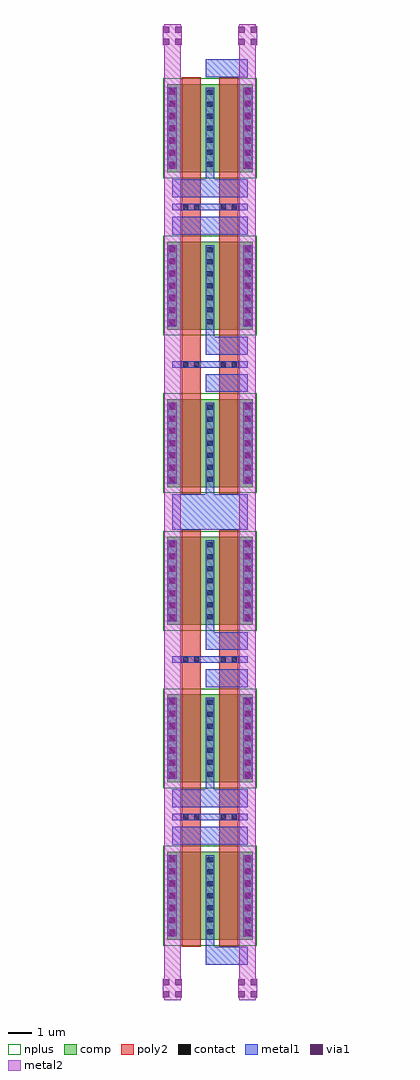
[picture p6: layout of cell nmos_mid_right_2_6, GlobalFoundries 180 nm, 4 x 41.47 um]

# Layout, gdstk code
import gdstk
lib = gdstk.Library(unit=1e-6, precision=5e-09)
def R(c, l, rs):  # rectangles x0, y0, x1, y1
    for r in rs: c.add(gdstk.rectangle(r[:2], r[2:], *l))
def A(c, l, x, y, w, h, nx, ny, dx, dy):  # array of equal rectangles
    R(c, l, [(x+i*dx, y+j*dy, x+i*dx+w, y+j*dy+h) for i in range(nx) for j in range(ny)])
comp = (22, 0)
poly2 = (30, 0)
nplus = (32, 0)
contact = (33, 0)
metal1 = (34, 0)
via1 = (35, 0)
metal2 = (36, 0)

nmos_mid_right_2_6 = lib.new_cell('nmos_mid_right_2_6')
R(nmos_mid_right_2_6, comp, [(0.19,2.17,0.61,5.92), (0.19,2.17,0.61,5.92), (0.61,2.17,1.79,5.92), (0.61,2.17,1.79,5.92), (1.79,2.17,2.21,5.92), (1.79,2.17,2.21,5.92), (1.79,2.17,2.21,5.92), (1.79,2.17,2.21,5.92), (2.21,2.17,3.39,5.92), (2.21,2.17,3.39,5.92), (3.39,2.17,3.81,5.92), (3.39,2.17,3.81,5.92), (0.19,8.86,0.61,12.61), (0.19,8.86,0.61,12.61), (0.61,8.86,1.79,12.61), (0.61,8.86,1.79,12.61), (1.79,8.86,2.21,12.61), (1.79,8.86,2.21,12.61), (1.79,8.86,2.21,12.61), (1.79,8.86,2.21,12.61), (2.21,8.86,3.39,12.61), (2.21,8.86,3.39,12.61), (3.39,8.86,3.81,12.61), (3.39,8.86,3.81,12.61), (0.19,15.55,0.61,19.3), (0.19,15.55,0.61,19.3), (0.61,15.55,1.79,19.3), (0.61,15.55,1.79,19.3), (1.79,15.55,2.21,19.3), (1.79,15.55,2.21,19.3), (1.79,15.55,2.21,19.3), (1.79,15.55,2.21,19.3), (2.21,15.55,3.39,19.3), (2.21,15.55,3.39,19.3), (3.39,15.55,3.81,19.3), (3.39,15.55,3.81,19.3), (0.19,21.4,0.61,25.15), (0.19,21.4,0.61,25.15), (0.61,21.4,1.79,25.15), (0.61,21.4,1.79,25.15), (1.79,21.4,2.21,25.15), (1.79,21.4,2.21,25.15), (1.79,21.4,2.21,25.15), (1.79,21.4,2.21,25.15), (2.21,21.4,3.39,25.15), (2.21,21.4,3.39,25.15), (3.39,21.4,3.81,25.15), (3.39,21.4,3.81,25.15), (0.19,28.09,0.61,31.84), (0.19,28.09,0.61,31.84), (0.61,28.09,1.79,31.84), (0.61,28.09,1.79,31.84), (1.79,28.09,2.21,31.84), (1.79,28.09,2.21,31.84), (1.79,28.09,2.21,31.84), (1.79,28.09,2.21,31.84), (2.21,28.09,3.39,31.84), (2.21,28.09,3.39,31.84), (3.39,28.09,3.81,31.84), (3.39,28.09,3.81,31.84), (0.19,34.78,0.61,38.53), (0.19,34.78,0.61,38.53), (0.61,34.78,1.79,38.53), (0.61,34.78,1.79,38.53), (1.79,34.78,2.21,38.53), (1.79,34.78,2.21,38.53), (1.79,34.78,2.21,38.53), (1.79,34.78,2.21,38.53), (2.21,34.78,3.39,38.53), (2.21,34.78,3.39,38.53), (3.39,34.78,3.81,38.53), (3.39,34.78,3.81,38.53)])
R(nmos_mid_right_2_6, poly2, [(0.8,1.87,1.6,6.22), (0.8,1.87,1.6,6.22), (2.4,1.87,3.2,6.22), (2.4,1.87,3.2,6.22), (0.8,6.22,1.6,8.56), (2.4,6.22,3.2,8.56), (0.785,7.235,1.615,7.545), (2.385,7.235,3.215,7.545), (0.8,8.56,1.6,12.91), (0.8,8.56,1.6,12.91), (2.4,8.56,3.2,12.91), (2.4,8.56,3.2,12.91), (0.8,12.91,1.6,15.25), (2.4,12.91,3.2,15.25), (0.785,13.925,1.615,14.235), (2.385,13.925,3.215,14.235), (0.8,15.25,1.6,19.6), (0.8,15.25,1.6,19.6), (2.4,15.25,3.2,19.6), (2.4,15.25,3.2,19.6), (0.8,21.1,1.6,25.45), (0.8,21.1,1.6,25.45), (2.4,21.1,3.2,25.45), (2.4,21.1,3.2,25.45), (0.8,25.45,1.6,27.79), (2.4,25.45,3.2,27.79), (0.785,26.465,1.615,26.775), (2.385,26.465,3.215,26.775), (0.8,27.79,1.6,32.14), (0.8,27.79,1.6,32.14), (2.4,27.79,3.2,32.14), (2.4,27.79,3.2,32.14), (0.8,32.14,1.6,34.48), (2.4,32.14,3.2,34.48), (0.785,33.155,1.615,33.465), (2.385,33.155,3.215,33.465), (0.8,34.48,1.6,38.83), (0.8,34.48,1.6,38.83), (2.4,34.48,3.2,38.83), (2.4,34.48,3.2,38.83)])
R(nmos_mid_right_2_6, nplus, [(0.02,1.93,2.38,6.16), (0.02,1.93,2.38,6.16), (1.62,1.93,3.98,6.16), (1.62,1.93,3.98,6.16), (0.02,8.62,2.38,12.85), (0.02,8.62,2.38,12.85), (1.62,8.62,3.98,12.85), (1.62,8.62,3.98,12.85), (0.02,15.31,2.38,19.54), (0.02,15.31,2.38,19.54), (1.62,15.31,3.98,19.54), (1.62,15.31,3.98,19.54), (0.02,21.16,2.38,25.39), (0.02,21.16,2.38,25.39), (1.62,21.16,3.98,25.39), (1.62,21.16,3.98,25.39), (0.02,27.85,2.38,32.08), (0.02,27.85,2.38,32.08), (1.62,27.85,3.98,32.08), (1.62,27.85,3.98,32.08), (0.02,34.54,2.38,38.77), (0.02,34.54,2.38,38.77), (1.62,34.54,3.98,38.77), (1.62,34.54,3.98,38.77)])
R(nmos_mid_right_2_6, contact, [(0.29,2.405,0.51,2.625), (0.29,2.405,0.51,2.625), (1.89,2.405,2.11,2.625), (1.89,2.405,2.11,2.625), (1.89,2.405,2.11,2.625), (1.89,2.405,2.11,2.625), (3.49,2.405,3.71,2.625), (3.49,2.405,3.71,2.625), (0.29,2.915,0.51,3.135), (0.29,2.915,0.51,3.135), (1.89,2.915,2.11,3.135), (1.89,2.915,2.11,3.135), (1.89,2.915,2.11,3.135), (1.89,2.915,2.11,3.135), (3.49,2.915,3.71,3.135), (3.49,2.915,3.71,3.135), (0.29,3.425,0.51,3.645), (0.29,3.425,0.51,3.645), (1.89,3.425,2.11,3.645), (1.89,3.425,2.11,3.645), (1.89,3.425,2.11,3.645), (1.89,3.425,2.11,3.645), (3.49,3.425,3.71,3.645), (3.49,3.425,3.71,3.645), (0.29,3.935,0.51,4.155), (0.29,3.935,0.51,4.155), (1.89,3.935,2.11,4.155), (1.89,3.935,2.11,4.155), (1.89,3.935,2.11,4.155), (1.89,3.935,2.11,4.155), (3.49,3.935,3.71,4.155), (3.49,3.935,3.71,4.155), (0.29,4.445,0.51,4.665), (0.29,4.445,0.51,4.665), (1.89,4.445,2.11,4.665), (1.89,4.445,2.11,4.665), (1.89,4.445,2.11,4.665), (1.89,4.445,2.11,4.665), (3.49,4.445,3.71,4.665), (3.49,4.445,3.71,4.665), (0.29,4.955,0.51,5.175), (0.29,4.955,0.51,5.175), (1.89,4.955,2.11,5.175), (1.89,4.955,2.11,5.175), (1.89,4.955,2.11,5.175), (1.89,4.955,2.11,5.175), (3.49,4.955,3.71,5.175), (3.49,4.955,3.71,5.175), (0.29,5.465,0.51,5.685), (0.29,5.465,0.51,5.685), (1.89,5.465,2.11,5.685), (1.89,5.465,2.11,5.685), (1.89,5.465,2.11,5.685), (1.89,5.465,2.11,5.685), (3.49,5.465,3.71,5.685), (3.49,5.465,3.71,5.685), (0.855,7.28,1.075,7.5), (1.325,7.28,1.545,7.5), (2.455,7.28,2.675,7.5), (2.925,7.28,3.145,7.5), (0.29,9.095,0.51,9.315), (0.29,9.095,0.51,9.315), (1.89,9.095,2.11,9.315), (1.89,9.095,2.11,9.315), (1.89,9.095,2.11,9.315), (1.89,9.095,2.11,9.315), (3.49,9.095,3.71,9.315), (3.49,9.095,3.71,9.315), (0.29,9.605,0.51,9.825), (0.29,9.605,0.51,9.825), (1.89,9.605,2.11,9.825), (1.89,9.605,2.11,9.825), (1.89,9.605,2.11,9.825), (1.89,9.605,2.11,9.825), (3.49,9.605,3.71,9.825), (3.49,9.605,3.71,9.825), (0.29,10.115,0.51,10.335), (0.29,10.115,0.51,10.335), (1.89,10.115,2.11,10.335), (1.89,10.115,2.11,10.335), (1.89,10.115,2.11,10.335), (1.89,10.115,2.11,10.335), (3.49,10.115,3.71,10.335), (3.49,10.115,3.71,10.335), (0.29,10.625,0.51,10.845), (0.29,10.625,0.51,10.845), (1.89,10.625,2.11,10.845), (1.89,10.625,2.11,10.845), (1.89,10.625,2.11,10.845), (1.89,10.625,2.11,10.845), (3.49,10.625,3.71,10.845), (3.49,10.625,3.71,10.845), (0.29,11.135,0.51,11.355), (0.29,11.135,0.51,11.355), (1.89,11.135,2.11,11.355), (1.89,11.135,2.11,11.355), (1.89,11.135,2.11,11.355), (1.89,11.135,2.11,11.355), (3.49,11.135,3.71,11.355), (3.49,11.135,3.71,11.355), (0.29,11.645,0.51,11.865), (0.29,11.645,0.51,11.865), (1.89,11.645,2.11,11.865), (1.89,11.645,2.11,11.865), (1.89,11.645,2.11,11.865), (1.89,11.645,2.11,11.865), (3.49,11.645,3.71,11.865), (3.49,11.645,3.71,11.865), (0.29,12.155,0.51,12.375), (0.29,12.155,0.51,12.375), (1.89,12.155,2.11,12.375), (1.89,12.155,2.11,12.375), (1.89,12.155,2.11,12.375), (1.89,12.155,2.11,12.375), (3.49,12.155,3.71,12.375), (3.49,12.155,3.71,12.375), (0.855,13.97,1.075,14.19), (1.325,13.97,1.545,14.19), (2.455,13.97,2.675,14.19), (2.925,13.97,3.145,14.19), (0.29,15.785,0.51,16.005), (0.29,15.785,0.51,16.005), (1.89,15.785,2.11,16.005), (1.89,15.785,2.11,16.005), (1.89,15.785,2.11,16.005), (1.89,15.785,2.11,16.005), (3.49,15.785,3.71,16.005), (3.49,15.785,3.71,16.005), (0.29,16.295,0.51,16.515), (0.29,16.295,0.51,16.515), (1.89,16.295,2.11,16.515), (1.89,16.295,2.11,16.515), (1.89,16.295,2.11,16.515), (1.89,16.295,2.11,16.515), (3.49,16.295,3.71,16.515), (3.49,16.295,3.71,16.515), (0.29,16.805,0.51,17.025), (0.29,16.805,0.51,17.025), (1.89,16.805,2.11,17.025), (1.89,16.805,2.11,17.025), (1.89,16.805,2.11,17.025), (1.89,16.805,2.11,17.025), (3.49,16.805,3.71,17.025), (3.49,16.805,3.71,17.025), (0.29,17.315,0.51,17.535), (0.29,17.315,0.51,17.535), (1.89,17.315,2.11,17.535), (1.89,17.315,2.11,17.535), (1.89,17.315,2.11,17.535), (1.89,17.315,2.11,17.535), (3.49,17.315,3.71,17.535), (3.49,17.315,3.71,17.535), (0.29,17.825,0.51,18.045), (0.29,17.825,0.51,18.045), (1.89,17.825,2.11,18.045), (1.89,17.825,2.11,18.045), (1.89,17.825,2.11,18.045), (1.89,17.825,2.11,18.045), (3.49,17.825,3.71,18.045), (3.49,17.825,3.71,18.045), (0.29,18.335,0.51,18.555), (0.29,18.335,0.51,18.555), (1.89,18.335,2.11,18.555), (1.89,18.335,2.11,18.555), (1.89,18.335,2.11,18.555), (1.89,18.335,2.11,18.555), (3.49,18.335,3.71,18.555), (3.49,18.335,3.71,18.555), (0.29,18.845,0.51,19.065), (0.29,18.845,0.51,19.065), (1.89,18.845,2.11,19.065), (1.89,18.845,2.11,19.065), (1.89,18.845,2.11,19.065), (1.89,18.845,2.11,19.065), (3.49,18.845,3.71,19.065), (3.49,18.845,3.71,19.065), (0.29,21.635,0.51,21.855), (0.29,21.635,0.51,21.855), (1.89,21.635,2.11,21.855), (1.89,21.635,2.11,21.855), (1.89,21.635,2.11,21.855), (1.89,21.635,2.11,21.855), (3.49,21.635,3.71,21.855), (3.49,21.635,3.71,21.855), (0.29,22.145,0.51,22.365), (0.29,22.145,0.51,22.365), (1.89,22.145,2.11,22.365), (1.89,22.145,2.11,22.365), (1.89,22.145,2.11,22.365), (1.89,22.145,2.11,22.365), (3.49,22.145,3.71,22.365), (3.49,22.145,3.71,22.365), (0.29,22.655,0.51,22.875), (0.29,22.655,0.51,22.875), (1.89,22.655,2.11,22.875), (1.89,22.655,2.11,22.875), (1.89,22.655,2.11,22.875), (1.89,22.655,2.11,22.875), (3.49,22.655,3.71,22.875), (3.49,22.655,3.71,22.875), (0.29,23.165,0.51,23.385), (0.29,23.165,0.51,23.385), (1.89,23.165,2.11,23.385), (1.89,23.165,2.11,23.385), (1.89,23.165,2.11,23.385), (1.89,23.165,2.11,23.385), (3.49,23.165,3.71,23.385), (3.49,23.165,3.71,23.385), (0.29,23.675,0.51,23.895), (0.29,23.675,0.51,23.895), (1.89,23.675,2.11,23.895), (1.89,23.675,2.11,23.895), (1.89,23.675,2.11,23.895), (1.89,23.675,2.11,23.895), (3.49,23.675,3.71,23.895), (3.49,23.675,3.71,23.895), (0.29,24.185,0.51,24.405), (0.29,24.185,0.51,24.405), (1.89,24.185,2.11,24.405), (1.89,24.185,2.11,24.405), (1.89,24.185,2.11,24.405), (1.89,24.185,2.11,24.405), (3.49,24.185,3.71,24.405), (3.49,24.185,3.71,24.405), (0.29,24.695,0.51,24.915), (0.29,24.695,0.51,24.915), (1.89,24.695,2.11,24.915), (1.89,24.695,2.11,24.915), (1.89,24.695,2.11,24.915), (1.89,24.695,2.11,24.915), (3.49,24.695,3.71,24.915), (3.49,24.695,3.71,24.915), (0.855,26.51,1.075,26.73), (1.325,26.51,1.545,26.73), (2.455,26.51,2.675,26.73), (2.925,26.51,3.145,26.73), (0.29,28.325,0.51,28.545), (0.29,28.325,0.51,28.545), (1.89,28.325,2.11,28.545), (1.89,28.325,2.11,28.545), (1.89,28.325,2.11,28.545), (1.89,28.325,2.11,28.545), (3.49,28.325,3.71,28.545), (3.49,28.325,3.71,28.545), (0.29,28.835,0.51,29.055), (0.29,28.835,0.51,29.055), (1.89,28.835,2.11,29.055), (1.89,28.835,2.11,29.055), (1.89,28.835,2.11,29.055), (1.89,28.835,2.11,29.055), (3.49,28.835,3.71,29.055), (3.49,28.835,3.71,29.055), (0.29,29.345,0.51,29.565), (0.29,29.345,0.51,29.565), (1.89,29.345,2.11,29.565), (1.89,29.345,2.11,29.565), (1.89,29.345,2.11,29.565), (1.89,29.345,2.11,29.565), (3.49,29.345,3.71,29.565), (3.49,29.345,3.71,29.565), (0.29,29.855,0.51,30.075), (0.29,29.855,0.51,30.075), (1.89,29.855,2.11,30.075), (1.89,29.855,2.11,30.075), (1.89,29.855,2.11,30.075), (1.89,29.855,2.11,30.075), (3.49,29.855,3.71,30.075), (3.49,29.855,3.71,30.075), (0.29,30.365,0.51,30.585), (0.29,30.365,0.51,30.585), (1.89,30.365,2.11,30.585), (1.89,30.365,2.11,30.585), (1.89,30.365,2.11,30.585), (1.89,30.365,2.11,30.585), (3.49,30.365,3.71,30.585), (3.49,30.365,3.71,30.585), (0.29,30.875,0.51,31.095), (0.29,30.875,0.51,31.095), (1.89,30.875,2.11,31.095), (1.89,30.875,2.11,31.095), (1.89,30.875,2.11,31.095), (1.89,30.875,2.11,31.095), (3.49,30.875,3.71,31.095), (3.49,30.875,3.71,31.095), (0.29,31.385,0.51,31.605), (0.29,31.385,0.51,31.605), (1.89,31.385,2.11,31.605), (1.89,31.385,2.11,31.605), (1.89,31.385,2.11,31.605), (1.89,31.385,2.11,31.605), (3.49,31.385,3.71,31.605), (3.49,31.385,3.71,31.605), (0.855,33.2,1.075,33.42), (1.325,33.2,1.545,33.42), (2.455,33.2,2.675,33.42), (2.925,33.2,3.145,33.42), (0.29,35.015,0.51,35.235), (0.29,35.015,0.51,35.235), (1.89,35.015,2.11,35.235), (1.89,35.015,2.11,35.235), (1.89,35.015,2.11,35.235), (1.89,35.015,2.11,35.235), (3.49,35.015,3.71,35.235), (3.49,35.015,3.71,35.235), (0.29,35.525,0.51,35.745), (0.29,35.525,0.51,35.745), (1.89,35.525,2.11,35.745), (1.89,35.525,2.11,35.745), (1.89,35.525,2.11,35.745), (1.89,35.525,2.11,35.745), (3.49,35.525,3.71,35.745), (3.49,35.525,3.71,35.745), (0.29,36.035,0.51,36.255), (0.29,36.035,0.51,36.255), (1.89,36.035,2.11,36.255), (1.89,36.035,2.11,36.255), (1.89,36.035,2.11,36.255), (1.89,36.035,2.11,36.255), (3.49,36.035,3.71,36.255), (3.49,36.035,3.71,36.255), (0.29,36.545,0.51,36.765), (0.29,36.545,0.51,36.765), (1.89,36.545,2.11,36.765), (1.89,36.545,2.11,36.765), (1.89,36.545,2.11,36.765), (1.89,36.545,2.11,36.765), (3.49,36.545,3.71,36.765), (3.49,36.545,3.71,36.765), (0.29,37.055,0.51,37.275), (0.29,37.055,0.51,37.275), (1.89,37.055,2.11,37.275), (1.89,37.055,2.11,37.275), (1.89,37.055,2.11,37.275), (1.89,37.055,2.11,37.275), (3.49,37.055,3.71,37.275), (3.49,37.055,3.71,37.275), (0.29,37.565,0.51,37.785), (0.29,37.565,0.51,37.785), (1.89,37.565,2.11,37.785), (1.89,37.565,2.11,37.785), (1.89,37.565,2.11,37.785), (1.89,37.565,2.11,37.785), (3.49,37.565,3.71,37.785), (3.49,37.565,3.71,37.785), (0.29,38.075,0.51,38.295), (0.29,38.075,0.51,38.295), (1.89,38.075,2.11,38.295), (1.89,38.075,2.11,38.295), (1.89,38.075,2.11,38.295), (1.89,38.075,2.11,38.295), (3.49,38.075,3.71,38.295), (3.49,38.075,3.71,38.295)])
R(nmos_mid_right_2_6, metal1, [(0.21,2.325,0.59,5.765), (0.21,2.325,0.59,5.765), (1.81,2.325,2.19,5.765), (1.81,2.325,2.19,5.765), (1.81,2.325,2.19,5.765), (1.81,2.325,2.19,5.765), (3.41,2.325,3.79,5.765), (3.41,2.325,3.79,5.765), (0.21,9.015,0.59,12.455), (0.21,9.015,0.59,12.455), (1.81,9.015,2.19,12.455), (1.81,9.015,2.19,12.455), (1.81,9.015,2.19,12.455), (1.81,9.015,2.19,12.455), (3.41,9.015,3.79,12.455), (3.41,9.015,3.79,12.455), (0.21,15.705,0.59,19.145), (0.21,15.705,0.59,19.145), (1.81,15.705,2.19,19.145), (1.81,15.705,2.19,19.145), (1.81,15.705,2.19,19.145), (1.81,15.705,2.19,19.145), (3.41,15.705,3.79,19.145), (3.41,15.705,3.79,19.145), (0.21,21.555,0.59,24.995), (0.21,21.555,0.59,24.995), (1.81,21.555,2.19,24.995), (1.81,21.555,2.19,24.995), (1.81,21.555,2.19,24.995), (1.81,21.555,2.19,24.995), (3.41,21.555,3.79,24.995), (3.41,21.555,3.79,24.995), (0.21,28.245,0.59,31.685), (0.21,28.245,0.59,31.685), (1.81,28.245,2.19,31.685), (1.81,28.245,2.19,31.685), (1.81,28.245,2.19,31.685), (1.81,28.245,2.19,31.685), (3.41,28.245,3.79,31.685), (3.41,28.245,3.79,31.685), (0.21,34.935,0.59,38.375), (0.21,34.935,0.59,38.375), (1.81,34.935,2.19,38.375), (1.81,34.935,2.19,38.375), (1.81,34.935,2.19,38.375), (1.81,34.935,2.19,38.375), (3.41,34.935,3.79,38.375), (3.41,34.935,3.79,38.375)])
A(nmos_mid_right_2_6, via1, 0.27, 2.355, 0.26, 0.26, 1, 7, 0, 0.52)
A(nmos_mid_right_2_6, via1, 3.47, 2.355, 0.26, 0.26, 1, 7, 0, 0.52)
A(nmos_mid_right_2_6, via1, 0.27, 9.045, 0.26, 0.26, 1, 7, 0, 0.52)
A(nmos_mid_right_2_6, via1, 3.47, 9.045, 0.26, 0.26, 1, 7, 0, 0.52)
A(nmos_mid_right_2_6, via1, 0.27, 15.735, 0.26, 0.26, 1, 7, 0, 0.52)
A(nmos_mid_right_2_6, via1, 3.47, 15.735, 0.26, 0.26, 1, 7, 0, 0.52)
A(nmos_mid_right_2_6, via1, 0.27, 21.585, 0.26, 0.26, 1, 7, 0, 0.52)
A(nmos_mid_right_2_6, via1, 3.47, 21.585, 0.26, 0.26, 1, 7, 0, 0.52)
A(nmos_mid_right_2_6, via1, 0.27, 28.275, 0.26, 0.26, 1, 7, 0, 0.52)
A(nmos_mid_right_2_6, via1, 3.47, 28.275, 0.26, 0.26, 1, 7, 0, 0.52)
A(nmos_mid_right_2_6, via1, 0.27, 34.965, 0.26, 0.26, 1, 7, 0, 0.52)
A(nmos_mid_right_2_6, via1, 3.47, 34.965, 0.26, 0.26, 1, 7, 0, 0.52)
R(nmos_mid_right_2_6, via1, [(0.01,-0.275,0.27,-0.015), (0.53,-0.275,0.79,-0.015), (3.21,-0.275,3.47,-0.015), (3.73,-0.275,3.99,-0.015), (0.01,0.245,0.27,0.505), (0.53,0.245,0.79,0.505), (3.21,0.245,3.47,0.505), (3.73,0.245,3.99,0.505), (0.01,40.195,0.27,40.455), (0.53,40.195,0.79,40.455), (3.21,40.195,3.47,40.455), (3.73,40.195,3.99,40.455), (0.01,40.715,0.27,40.975), (0.53,40.715,0.79,40.975), (3.21,40.715,3.47,40.975), (3.73,40.715,3.99,40.975)])
R(nmos_mid_right_2_6, metal2, [(0,-0.285,0.8,0.515), (3.2,-0.285,4,0.515), (0,40.185,0.8,40.985), (3.2,40.185,4,40.985)])
nmos_mid_right_2_6.add(gdstk.FlexPath([(3.6,13.285),(1.81,13.285)], 0.75, ends="flush", simple_path=True, layer=34, datatype=0))  # metal1
nmos_mid_right_2_6.add(gdstk.FlexPath([(3.6,14.875),(1.81,14.875)], 0.75, ends="flush", simple_path=True, layer=34, datatype=0))  # metal1
nmos_mid_right_2_6.add(gdstk.FlexPath([(3.6,25.825),(1.81,25.825)], 0.75, ends="flush", simple_path=True, layer=34, datatype=0))  # metal1
nmos_mid_right_2_6.add(gdstk.FlexPath([(3.6,27.415),(1.81,27.415)], 0.75, ends="flush", simple_path=True, layer=34, datatype=0))  # metal1
nmos_mid_right_2_6.add(gdstk.FlexPath([(3.6,1.495),(1.81,1.495)], 0.75, ends="flush", simple_path=True, layer=34, datatype=0))  # metal1
nmos_mid_right_2_6.add(gdstk.FlexPath([(3.6,39.205),(1.81,39.205)], 0.75, ends="flush", simple_path=True, layer=34, datatype=0))  # metal1
nmos_mid_right_2_6.add(gdstk.FlexPath([(2,34.935),(2,34.48)], 0.38, ends="flush", simple_path=True, layer=34, datatype=0))  # metal1
nmos_mid_right_2_6.add(gdstk.FlexPath([(3.6,33.31),(0.4,33.31)], 0.28, ends="flush", simple_path=True, layer=34, datatype=0))  # metal1
nmos_mid_right_2_6.add(gdstk.FlexPath([(3.6,34.105),(0.4,34.105)], 0.75, ends="flush", simple_path=True, layer=34, datatype=0))  # metal1
nmos_mid_right_2_6.add(gdstk.FlexPath([(3.6,32.515),(0.4,32.515)], 0.75, ends="flush", simple_path=True, layer=34, datatype=0))  # metal1
nmos_mid_right_2_6.add(gdstk.FlexPath([(3.6,6.595),(0.4,6.595)], 0.75, ends="flush", simple_path=True, layer=34, datatype=0))  # metal1
nmos_mid_right_2_6.add(gdstk.FlexPath([(3.6,7.39),(0.4,7.39)], 0.28, ends="flush", simple_path=True, layer=34, datatype=0))  # metal1
nmos_mid_right_2_6.add(gdstk.FlexPath([(3.6,8.185),(0.4,8.185)], 0.75, ends="flush", simple_path=True, layer=34, datatype=0))  # metal1
nmos_mid_right_2_6.add(gdstk.FlexPath([(2,9.015),(2,8.56)], 0.38, ends="flush", simple_path=True, layer=34, datatype=0))  # metal1
nmos_mid_right_2_6.add(gdstk.FlexPath([(2,2.325),(2,1.87)], 0.38, ends="flush", simple_path=True, layer=34, datatype=0))  # metal1
nmos_mid_right_2_6.add(gdstk.FlexPath([(2,21.1),(2,21.555)], 0.38, ends="flush", simple_path=True, layer=34, datatype=0))  # metal1
nmos_mid_right_2_6.add(gdstk.FlexPath([(2,28.245),(2,27.79)], 0.38, ends="flush", simple_path=True, layer=34, datatype=0))  # metal1
nmos_mid_right_2_6.add(gdstk.FlexPath([(3.6,26.62),(0.4,26.62)], 0.28, ends="flush", simple_path=True, layer=34, datatype=0))  # metal1
nmos_mid_right_2_6.add(gdstk.FlexPath([(2,15.705),(2,15.25)], 0.38, ends="flush", simple_path=True, layer=34, datatype=0))  # metal1
nmos_mid_right_2_6.add(gdstk.FlexPath([(3.6,14.08),(0.4,14.08)], 0.28, ends="flush", simple_path=True, layer=34, datatype=0))  # metal1
nmos_mid_right_2_6.add(gdstk.FlexPath([(3.6,20.35),(0.4,20.35)], 1.5, ends="flush", simple_path=True, layer=34, datatype=0))  # metal1
nmos_mid_right_2_6.add(gdstk.FlexPath([(0.4,41.085),(0.4,-0.385)], 0.7, ends="flush", simple_path=True, layer=36, datatype=0))  # metal2
nmos_mid_right_2_6.add(gdstk.FlexPath([(3.6,41.085),(3.6,-0.385)], 0.7, ends="flush", simple_path=True, layer=36, datatype=0))  # metal2

lib.write_gds('nmos_mid_right_2_6.gds')
